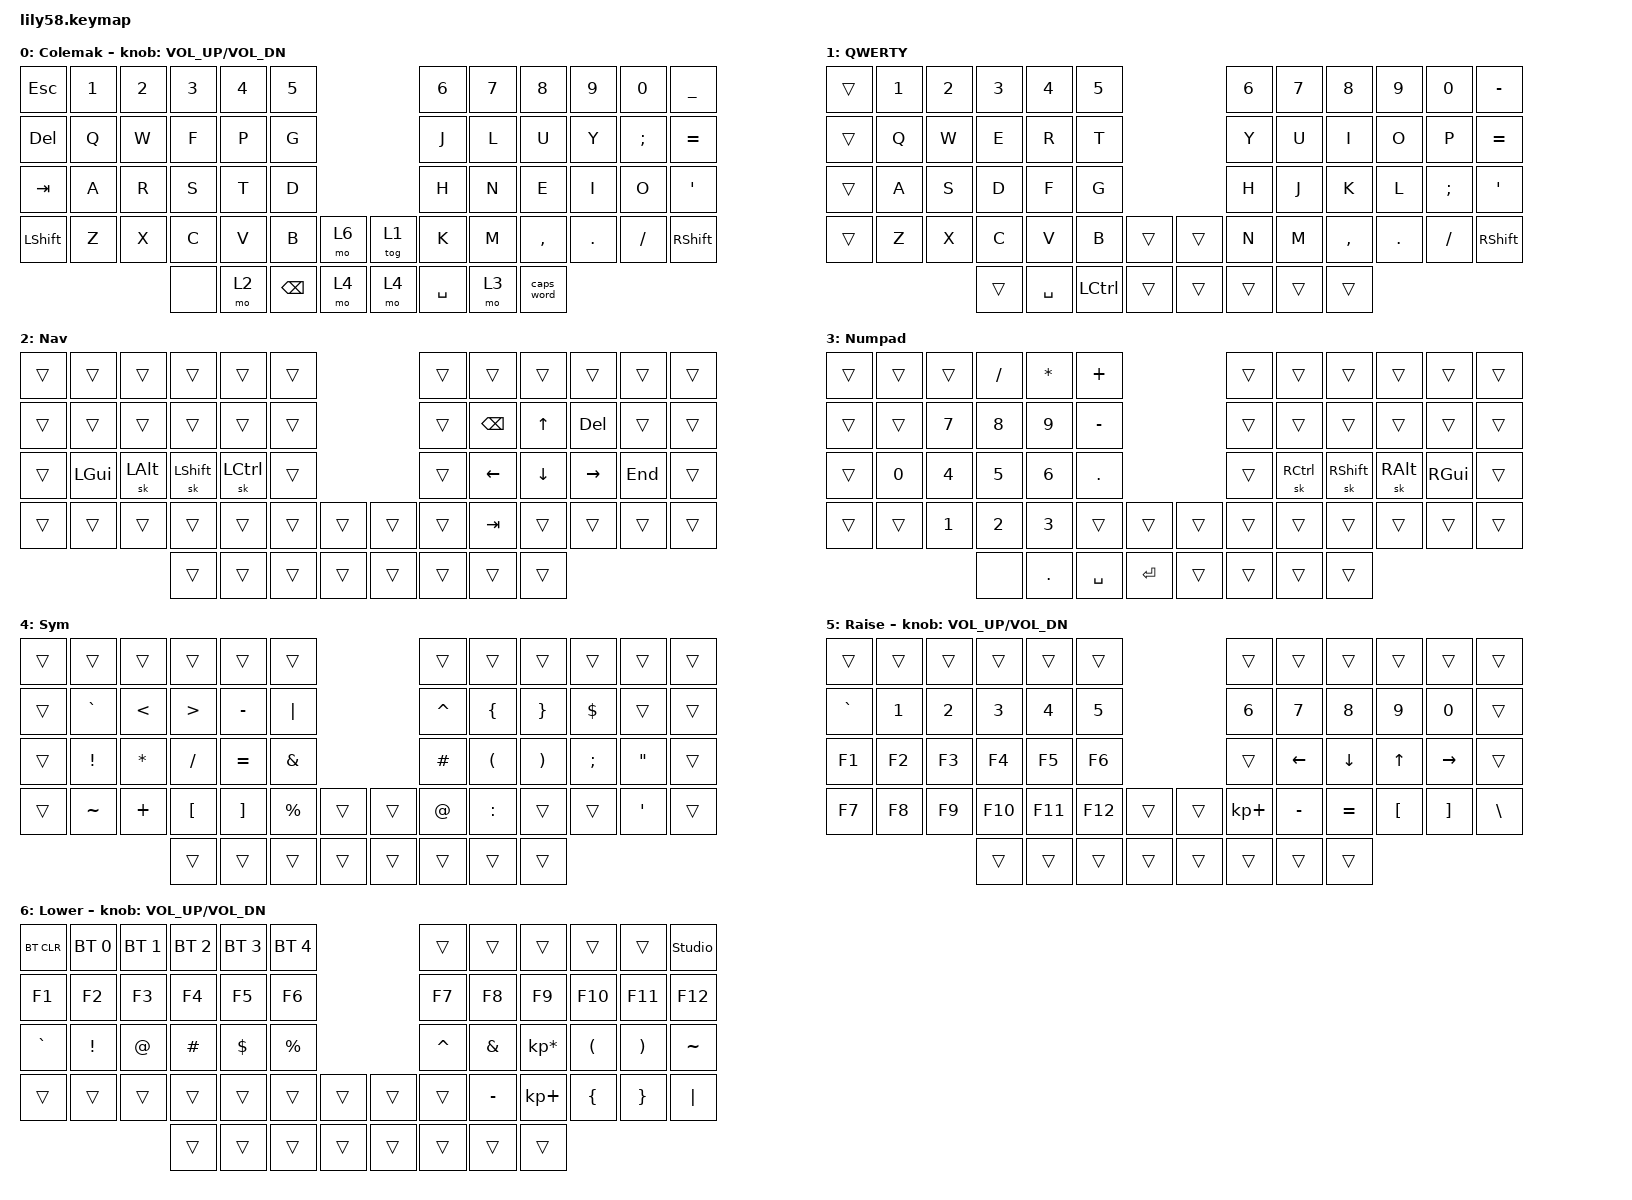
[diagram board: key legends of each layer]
/*
 * Copyright (c) 2020 The ZMK Contributors
 *
 * SPDX-License-Identifier: MIT
 */

#include <behaviors.dtsi>
#include <dt-bindings/zmk/bt.h>
#include <dt-bindings/zmk/keys.h>

/ {
    behaviors {
        HRM: HRM {
            compatible = "zmk,behavior-hold-tap";
            label = "HRM";
            bindings = <&kp>, <&kp>;

            #binding-cells = <2>;
            flavor = "balanced";
            hold-trigger-key-positions = <27 26 25 28 31 32 33 34>;
            tapping-term-ms = <280>;
            quick-tap-ms = <175>;
            require-prior-idle-ms = <130>;
            hold-trigger-on-release;
        };

        thumb_shift: thumb_shift {
            compatible = "zmk,behavior-hold-tap";
            label = "THUMB_SHIFT";
            bindings = <&mo>, <&sk>;

            #binding-cells = <2>;
            flavor = "balanced";
            hold-trigger-key-positions = <53 54>;
            tapping-term-ms = <280>;
            quick-tap-ms = <175>;
            require-prior-idle-ms = <130>;
            hold-trigger-on-release;
        };
    };

    combos {
        compatible = "zmk,combos";

        Copy {
            bindings = <&kp LC(C)>;
            key-positions = <38 39>;
        };

        Paste {
            bindings = <&kp LC(V)>;
            key-positions = <39 40>;
        };

        Cut {
            bindings = <&kp LC(X)>;
            key-positions = <40 38>;
        };

        Enter {
            bindings = <&kp ENTER>;
            key-positions = <32 33 31>;
        };

        Tab {
            bindings = <&kp TAB>;
            key-positions = <27 26 28>;
        };

        CTRL_Backspace {
            bindings = <&kp LC(BACKSPACE)>;
            key-positions = <14 15>;
        };
    };

    keymap {
        compatible = "zmk,keymap";

        Colemak {
            // ------------------------------------------------------------------------------------------------------------
            // |  ESC  |  1  |  2  |  3   |  4   |  5   |                   |  6   |  7    |  8    |  9   |   0   |   `   |
            // |  TAB  |  Q  |  W  |  E   |  R   |  T   |                   |  Y   |  U    |  I    |  O   |   P   |   -   |
            // |  CTRL |  A  |  S  |  D   |  F   |  G   |                   |  H   |  J    |  K    |  L   |   ;   |   '   |
            // | SHIFT |  Z  |  X  |  C   |  V   |  B   |   "["  |  |  "]"  |  N   |  M    |  ,    |  .   |   /   | SHIFT |
            //                     | ALT  | GUI  | LOWER|  SPACE |  | ENTER | RAISE| BSPC  | GUI   |

            display-name = "Colemak";
            bindings = <
&kp ESC         &kp N1  &kp N2  &kp N3  &kp N4  &kp N5                          &kp N6     &kp N7  &kp N8      &kp N9   &kp N0         &kp UNDERSCORE
&kp DELETE      &kp Q   &kp W   &kp F   &kp P   &kp G                           &kp J      &kp L   &kp U       &kp Y    &kp SEMICOLON  &kp EQUAL
&kp TAB         &kp A   &kp R   &kp S   &kp T   &kp D                           &kp H      &kp N   &kp E       &kp I    &kp O          &kp SQT
&kp LEFT_SHIFT  &kp Z   &kp X   &kp C   &kp V   &kp B          &mo 6    &tog 1  &kp K      &kp M   &kp COMMA   &kp DOT  &kp SLASH      &kp RIGHT_SHIFT
                                &none   &mo 2   &kp BACKSPACE  &mo 4    &mo 4   &kp SPACE  &mo 3   &caps_word
            >;

            sensor-bindings = <&inc_dec_kp C_VOL_UP C_VOL_DN>;
        };

        QWERTY {
            bindings = <
&trans  &kp N1  &kp N2  &kp N3  &kp N4     &kp N5                              &kp N6  &kp N7  &kp N8     &kp N9   &kp N0    &kp MINUS
&trans  &kp Q   &kp W   &kp E   &kp R      &kp T                               &kp Y   &kp U   &kp I      &kp O    &kp P     &kp EQUAL
&trans  &kp A   &kp S   &kp D   &kp F      &kp G                               &kp H   &kp J   &kp K      &kp L    &kp SEMI  &kp SQT
&trans  &kp Z   &kp X   &kp C   &kp V      &kp B             &trans    &trans  &kp N   &kp M   &kp COMMA  &kp DOT  &kp FSLH  &kp RSHFT
                        &trans  &kp SPACE  &kp LEFT_CONTROL  &trans    &trans  &trans  &trans  &trans
            >;

            label = "QWERTY";
        };

        Nav {
            bindings = <
&trans  &trans        &trans        &trans          &trans            &trans                    &trans  &trans    &trans    &trans     &trans   &trans
&trans  &trans        &trans        &trans          &trans            &trans                    &trans  &kp BSPC  &kp UP    &kp DEL    &trans   &trans
&trans  &kp LEFT_GUI  &sk LEFT_ALT  &sk LEFT_SHIFT  &sk LEFT_CONTROL  &trans                    &trans  &kp LEFT  &kp DOWN  &kp RIGHT  &kp END  &trans
&trans  &trans        &trans        &trans          &trans            &trans  &trans    &trans  &trans  &kp TAB   &trans    &trans     &trans   &trans
                                    &trans          &trans            &trans  &trans    &trans  &trans  &trans    &trans
            >;

            label = "Nav";
        };

        Numpad {
            bindings = <
&trans  &trans  &trans  &kp FSLH  &kp STAR    &kp PLUS                         &trans  &trans             &trans           &trans         &trans         &trans
&trans  &trans  &kp N7  &kp N8    &kp N9      &kp MINUS                        &trans  &trans             &trans           &trans         &trans         &trans
&trans  &kp N0  &kp N4  &kp N5    &kp N6      &kp PERIOD                       &trans  &sk RIGHT_CONTROL  &sk RIGHT_SHIFT  &sk RIGHT_ALT  &kp RIGHT_GUI  &trans
&trans  &trans  &kp N1  &kp N2    &kp N3      &trans      &trans       &trans  &trans  &trans             &trans           &trans         &trans         &trans
                        &none     &kp PERIOD  &kp SPACE   &kp ENTER    &trans  &trans  &trans             &trans
            >;

            label = "Numpad";
        };

        Sym {
            bindings = <
&trans  &trans           &trans         &trans            &trans             &trans                         &trans       &trans                &trans                 &trans         &trans             &trans
&trans  &kp GRAVE        &kp LESS_THAN  &kp GREATER_THAN  &kp MINUS          &kp PIPE                       &kp CARET    &kp LEFT_BRACE        &kp RIGHT_BRACE        &kp DOLLAR     &trans             &trans
&trans  &kp EXCLAMATION  &kp STAR       &kp SLASH         &kp EQUAL          &kp AMPS                       &kp HASH     &kp LEFT_PARENTHESIS  &kp RIGHT_PARENTHESIS  &kp SEMICOLON  &kp DOUBLE_QUOTES  &trans
&trans  &kp TILDE        &kp PLUS       &kp LEFT_BRACKET  &kp RIGHT_BRACKET  &kp PERCENT  &trans    &trans  &kp AT_SIGN  &kp COLON             &trans                 &trans         &kp SQT            &trans
                                        &trans            &trans             &trans       &trans    &trans  &trans       &trans                &trans
            >;

            label = "Sym";
        };

        raise_layer {
            // ------------------------------------------------------------------------------------------------------------
            // |       |     |     |      |      |      |                   |      |       |       |      |       |       |
            // |   `   |  1  |  2  |  3   |  4   |  5   |                   |  6   |   7   |   8   |  9   |   0   |       |
            // |   F1  |  F2 |  F3 |  F4  |  F5  |  F6  |                   |      |   <-  |   v   |  ^   |  ->   |       |
            // |   F7  |  F8 |  F9 |  F10 |  F11 |  F12 |        |  |       |  +   |   -   |   =   |  [   |   ]   |   \   |
            //                     |      |      |      |        |  |       |      |       |       |

            display-name = "Raise";
            bindings = <
&trans     &trans  &trans  &trans   &trans   &trans                     &trans       &trans     &trans     &trans    &trans     &trans
&kp GRAVE  &kp N1  &kp N2  &kp N3   &kp N4   &kp N5                     &kp N6       &kp N7     &kp N8     &kp N9    &kp N0     &trans
&kp F1     &kp F2  &kp F3  &kp F4   &kp F5   &kp F6                     &trans       &kp LEFT   &kp DOWN   &kp UP    &kp RIGHT  &trans
&kp F7     &kp F8  &kp F9  &kp F10  &kp F11  &kp F12  &trans    &trans  &kp KP_PLUS  &kp MINUS  &kp EQUAL  &kp LBKT  &kp RBKT   &kp BSLH
                           &trans   &trans   &trans   &trans    &trans  &trans       &trans     &trans
            >;

            sensor-bindings = <&inc_dec_kp C_VOL_UP C_VOL_DN>;
        };

        lower_layer {
            // ------------------------------------------------------------------------------------------------------------
            // | BTCLR | BT1 | BT2 |  BT3 |  BT4 |  BT5 |                   |      |       |       |      |       |       |
            // |  F1   |  F2 |  F3 |  F4  |  F5  |  F6  |                   |  F7  |  F8   |  F9   |  F10 |  F11  |  F12  |
            // |   `   |  !  |  @  |  #   |  $   |  %   |                   |  ^   |  &    |  *    |  (   |   )   |   ~   |
            // |       |     |     |      |      |      |        |  |       |      |  _    |  +    |  {   |   }   |  "|"  |
            //                     |      |      |      |        |  |       |      |       |       |

            display-name = "Lower";
            bindings = <
&bt BT_CLR  &bt BT_SEL 0  &bt BT_SEL 1  &bt BT_SEL 2  &bt BT_SEL 3  &bt BT_SEL 4                    &trans     &trans     &trans           &trans    &trans    &studio_unlock
&kp F1      &kp F2        &kp F3        &kp F4        &kp F5        &kp F6                          &kp F7     &kp F8     &kp F9           &kp F10   &kp F11   &kp F12
&kp GRAVE   &kp EXCL      &kp AT        &kp HASH      &kp DOLLAR    &kp PRCNT                       &kp CARET  &kp AMPS   &kp KP_MULTIPLY  &kp LPAR  &kp RPAR  &kp TILDE
&trans      &trans        &trans        &trans        &trans        &trans        &trans    &trans  &trans     &kp MINUS  &kp KP_PLUS      &kp LBRC  &kp RBRC  &kp PIPE
                                        &trans        &trans        &trans        &trans    &trans  &trans     &trans     &trans
            >;

            sensor-bindings = <&inc_dec_kp C_VOL_UP C_VOL_DN>;
        };

        extra_1 {
            status = "reserved";
            sensor-bindings = <&inc_dec_kp 0 0>;
        };

        extra_2 { status = "reserved"; };

        extra_3 { status = "reserved"; };
    };
};
